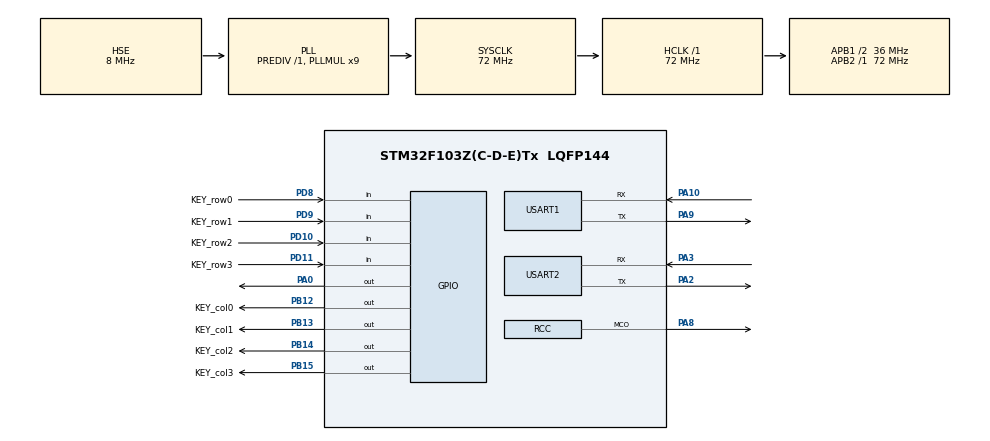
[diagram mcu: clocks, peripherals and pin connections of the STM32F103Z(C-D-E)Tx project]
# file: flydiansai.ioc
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Dma.Request0=USART1_RX
Dma.Request1=USART1_TX
Dma.Request2=USART2_RX
Dma.Request3=USART2_TX
Dma.USART1_RX.0.Direction=DMA_PERIPH_TO_MEMORY
Dma.USART1_RX.0.Instance=DMA1_Channel5
Dma.USART1_RX.0.MemDataAlignment=DMA_MDATAALIGN_BYTE
Dma.USART1_RX.0.MemInc=DMA_MINC_ENABLE
Dma.USART1_RX.0.Mode=DMA_NORMAL
Dma.USART1_RX.0.PeriphDataAlignment=DMA_PDATAALIGN_BYTE
Dma.USART1_RX.0.PeriphInc=DMA_PINC_DISABLE
Dma.USART1_RX.0.Priority=DMA_PRIORITY_LOW
Dma.USART1_TX.1.Direction=DMA_MEMORY_TO_PERIPH
Dma.USART1_TX.1.Instance=DMA1_Channel4
Dma.USART1_TX.1.MemDataAlignment=DMA_MDATAALIGN_BYTE
Dma.USART1_TX.1.MemInc=DMA_MINC_ENABLE
Dma.USART1_TX.1.Mode=DMA_NORMAL
Dma.USART1_TX.1.PeriphDataAlignment=DMA_PDATAALIGN_BYTE
Dma.USART1_TX.1.PeriphInc=DMA_PINC_DISABLE
Dma.USART1_TX.1.Priority=DMA_PRIORITY_LOW
Dma.USART2_RX.2.Direction=DMA_PERIPH_TO_MEMORY
Dma.USART2_RX.2.Instance=DMA1_Channel6
Dma.USART2_RX.2.MemDataAlignment=DMA_MDATAALIGN_BYTE
Dma.USART2_RX.2.MemInc=DMA_MINC_ENABLE
Dma.USART2_RX.2.Mode=DMA_NORMAL
Dma.USART2_RX.2.PeriphDataAlignment=DMA_PDATAALIGN_BYTE
Dma.USART2_RX.2.PeriphInc=DMA_PINC_DISABLE
Dma.USART2_RX.2.Priority=DMA_PRIORITY_LOW
Dma.USART2_TX.3.Direction=DMA_MEMORY_TO_PERIPH
Dma.USART2_TX.3.Instance=DMA1_Channel7
Dma.USART2_TX.3.MemDataAlignment=DMA_MDATAALIGN_BYTE
Dma.USART2_TX.3.MemInc=DMA_MINC_ENABLE
Dma.USART2_TX.3.Mode=DMA_NORMAL
Dma.USART2_TX.3.PeriphDataAlignment=DMA_PDATAALIGN_BYTE
Dma.USART2_TX.3.PeriphInc=DMA_PINC_DISABLE
Dma.USART2_TX.3.Priority=DMA_PRIORITY_LOW
FREERTOS.Tasks01=defaultTask,0,128,StartDefaultTask,Default,NULL,Dynamic,NULL,NULL
FREERTOS.configTOTAL_HEAP_SIZE=16384
Mcu.Family=STM32F1
Mcu.Name=STM32F103Z(C-D-E)Tx
Mcu.Package=LQFP144
NVIC.DMA1_Channel4_IRQn=true\:5\:0\:false\:false\:true\:true\:false\:true\:true
NVIC.DMA1_Channel5_IRQn=true\:5\:0\:false\:false\:true\:true\:false\:true\:true
NVIC.DMA1_Channel6_IRQn=true\:5\:0\:false\:false\:true\:true\:false\:true\:true
NVIC.DMA1_Channel7_IRQn=true\:5\:0\:false\:false\:true\:true\:false\:true\:true
NVIC.PriorityGroup=NVIC_PRIORITYGROUP_4
NVIC.TIM6_IRQn=true\:15\:0\:false\:false\:true\:false\:false\:true\:true
NVIC.TimeBase=TIM6_IRQn
NVIC.TimeBaseIP=TIM6
NVIC.USART1_IRQn=true\:5\:0\:false\:false\:true\:true\:true\:true\:true
NVIC.USART2_IRQn=true\:5\:0\:false\:false\:true\:true\:true\:true\:true
OSC_IN.Mode=HSE-External-Oscillator
OSC_IN.Signal=RCC_OSC_IN
OSC_OUT.Mode=HSE-External-Oscillator
OSC_OUT.Signal=RCC_OSC_OUT
PA0-WKUP.Signal=GPIO_Output
PA10.Mode=Asynchronous
PA10.Signal=USART1_RX
PA13.Mode=Serial_Wire
PA13.Signal=SYS_JTMS-SWDIO
PA14.Mode=Serial_Wire
PA14.Signal=SYS_JTCK-SWCLK
PA2.Mode=Asynchronous
PA2.Signal=USART2_TX
PA3.Mode=Asynchronous
PA3.Signal=USART2_RX
PA8.Mode=Clock-out
PA8.Signal=RCC_MCO
PA9.Mode=Asynchronous
PA9.Signal=USART1_TX
PB12.GPIO_Label=KEY_col0
PB12.Signal=GPIO_Output
PB13.GPIO_Label=KEY_col1
PB13.Signal=GPIO_Output
PB14.GPIO_Label=KEY_col2
PB14.Signal=GPIO_Output
PB15.GPIO_Label=KEY_col3
PB15.Signal=GPIO_Output
PC14-OSC32_IN.Mode=LSE-External-Oscillator
PC14-OSC32_IN.Signal=RCC_OSC32_IN
PC15-OSC32_OUT.Mode=LSE-External-Oscillator
PC15-OSC32_OUT.Signal=RCC_OSC32_OUT
PD10.GPIO_Label=KEY_row2
PD10.GPIO_PuPd=GPIO_PULLUP
PD10.Signal=GPIO_Input
PD11.GPIO_Label=KEY_row3
PD11.GPIO_PuPd=GPIO_PULLUP
PD11.Signal=GPIO_Input
PD8.GPIO_Label=KEY_row0
PD8.GPIO_PuPd=GPIO_PULLUP
PD8.Signal=GPIO_Input
PD9.GPIO_Label=KEY_row1
PD9.GPIO_PuPd=GPIO_PULLUP
PD9.Signal=GPIO_Input
ProjectManager.HeapSize=0x400
ProjectManager.StackSize=0x800
ProjectManager.TargetToolchain=MDK-ARM V5.32
RCC.AHBFreq_Value=72000000
RCC.APB1CLKDivider=RCC_HCLK_DIV2
RCC.APB1Freq_Value=36000000
RCC.APB1TimFreq_Value=72000000
RCC.APB2Freq_Value=72000000
RCC.APB2TimFreq_Value=72000000
RCC.HCLKFreq_Value=72000000
RCC.PLLMUL=RCC_PLL_MUL9
RCC.PLLSourceVirtual=RCC_PLLSOURCE_HSE
RCC.RCC_MCOSource=RCC_MCO1SOURCE_PLLCLK
RCC.SYSCLKFreq_VALUE=72000000
RCC.SYSCLKSource=RCC_SYSCLKSOURCE_PLLCLK
RCC.USBFreq_Value=72000000
USART1.VirtualMode=VM_ASYNC
USART2.VirtualMode=VM_ASYNC
VP_FREERTOS_VS_CMSIS_V1.Mode=CMSIS_V1
VP_SYS_VS_tim6.Mode=TIM6
board=custom

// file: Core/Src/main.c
/* USER CODE BEGIN Header */
/**
  ******************************************************************************
  * @file           : main.c
  * @brief          : Main program body
  ******************************************************************************
  * @attention
  *
  * <h2><center>&copy; Copyright (c) 2025 STMicroelectronics.
  * All rights reserved.</center></h2>
  *
  * This software component is licensed by ST under Ultimate Liberty license
  * SLA0044, the "License"; You may not use this file except in compliance with
  * the License. You may obtain a copy of the License at:
  *                             www.st.com/SLA0044
  *
  ******************************************************************************
  */
/* USER CODE END Header */
#include "main.h"
#include "cmsis_os.h"
#include "dma.h"
#include "usart.h"
#include "gpio.h"

/* USER CODE BEGIN Includes */
#include "myusart.h"
#include "stdio.h"
/* USER CODE END Includes */

void SystemClock_Config(void);
void MX_FREERTOS_Init(void);

int main(void)
{

  /* MCU Configuration--------------------------------------------------------*/

  /* Reset of all peripherals, Initializes the Flash interface and the Systick. */
  HAL_Init();

  /* Configure the system clock */
  SystemClock_Config();

  /* Initialize all configured peripherals */
  MX_GPIO_Init();
  MX_DMA_Init();
  MX_USART1_UART_Init();
  MX_USART2_UART_Init();
  /* USER CODE BEGIN 2 */
	 usart_init();

    GPIO_InitTypeDef GPIO_Initure;

    __HAL_RCC_GPIOB_CLK_ENABLE();           	//开启GPIOB时钟
	__HAL_RCC_GPIOE_CLK_ENABLE();           	//开启GPIOE时钟

    GPIO_Initure.Pin=GPIO_PIN_5; 				//PB5
    GPIO_Initure.Mode=GPIO_MODE_OUTPUT_PP;  	//推挽输出
    GPIO_Initure.Pull=GPIO_PULLUP;          	//上拉
    GPIO_Initure.Speed=GPIO_SPEED_FREQ_HIGH;    //高速
    HAL_GPIO_Init(GPIOB,&GPIO_Initure);

	GPIO_Initure.Pin=GPIO_PIN_5; 				//PE5
	HAL_GPIO_Init(GPIOE,&GPIO_Initure);

    HAL_GPIO_WritePin(GPIOB,GPIO_PIN_5,GPIO_PIN_SET);	//PB5置1，默认初始化后灯灭
    HAL_GPIO_WritePin(GPIOE,GPIO_PIN_5,GPIO_PIN_SET);	//PE5置1，默认初始化后灯灭

  /* USER CODE END 2 */

  /* Call init function for freertos objects (in cmsis_os2.c) */
  MX_FREERTOS_Init();

  /* Start scheduler */
  osKernelStart();

  /* We should never get here as control is now taken by the scheduler */

  /* Infinite loop */
  while (1)
  {

  }
}

void SystemClock_Config(void)
{
  RCC_OscInitTypeDef RCC_OscInitStruct = {0};
  RCC_ClkInitTypeDef RCC_ClkInitStruct = {0};

  /** Initializes the RCC Oscillators according to the specified parameters
  * in the RCC_OscInitTypeDef structure.
  */
  RCC_OscInitStruct.OscillatorType = RCC_OSCILLATORTYPE_HSE;
  RCC_OscInitStruct.HSEState = RCC_HSE_ON;
  RCC_OscInitStruct.HSEPredivValue = RCC_HSE_PREDIV_DIV1;
  RCC_OscInitStruct.HSIState = RCC_HSI_ON;
  RCC_OscInitStruct.PLL.PLLState = RCC_PLL_ON;
  RCC_OscInitStruct.PLL.PLLSource = RCC_PLLSOURCE_HSE;
  RCC_OscInitStruct.PLL.PLLMUL = RCC_PLL_MUL9;
  if (HAL_RCC_OscConfig(&RCC_OscInitStruct) != HAL_OK)
  {
    Error_Handler();
  }

  /** Initializes the CPU, AHB and APB buses clocks
  */
  RCC_ClkInitStruct.ClockType = RCC_CLOCKTYPE_HCLK|RCC_CLOCKTYPE_SYSCLK
                              |RCC_CLOCKTYPE_PCLK1|RCC_CLOCKTYPE_PCLK2;
  RCC_ClkInitStruct.SYSCLKSource = RCC_SYSCLKSOURCE_PLLCLK;
  RCC_ClkInitStruct.AHBCLKDivider = RCC_SYSCLK_DIV1;
  RCC_ClkInitStruct.APB1CLKDivider = RCC_HCLK_DIV2;
  RCC_ClkInitStruct.APB2CLKDivider = RCC_HCLK_DIV1;

  if (HAL_RCC_ClockConfig(&RCC_ClkInitStruct, FLASH_LATENCY_2) != HAL_OK)
  {
    Error_Handler();
  }
  HAL_RCC_MCOConfig(RCC_MCO, RCC_MCO1SOURCE_PLLCLK, RCC_MCODIV_1);
}

/* USER CODE BEGIN 4 */

int fputc(int ch, FILE *f)
{
    HAL_UART_Transmit(&huart1, (uint8_t *)&ch, 1, HAL_MAX_DELAY);
    return ch;
}

/* USER CODE END 4 */

void HAL_TIM_PeriodElapsedCallback(TIM_HandleTypeDef *htim)
{
  if (htim->Instance == TIM6)
  {
    HAL_IncTick();
  }
}

void Error_Handler(void)
{
  __disable_irq();
  while (1)
  {
  }
}

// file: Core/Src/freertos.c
/* USER CODE BEGIN Header */
/**
  ******************************************************************************
  * File Name          : freertos.c
  * Description        : Code for freertos applications
  ******************************************************************************
  * @attention
  *
  * <h2><center>&copy; Copyright (c) 2025 STMicroelectronics.
  * All rights reserved.</center></h2>
  *
  * This software component is licensed by ST under Ultimate Liberty license
  * SLA0044, the "License"; You may not use this file except in compliance with
  * the License. You may obtain a copy of the License at:
  *                             www.st.com/SLA0044
  *
  ******************************************************************************
  */
/* USER CODE END Header */

#include "FreeRTOS.h"
#include "task.h"
#include "main.h"
#include "cmsis_os.h"

/* USER CODE BEGIN Includes */
#include "anjian.h"
#include "send_task.h"
#include "lcd_task.h"

osThreadId Send_TaskHandle;

osThreadId Anjian_TaskHandle;
osThreadId lcd_TaskHandle;

/* USER CODE END Includes */

osThreadId defaultTaskHandle;

void StartDefaultTask(void const * argument);

void MX_FREERTOS_Init(void); /* (MISRA C 2004 rule 8.1) */

/* GetIdleTaskMemory prototype (linked to static allocation support) */
void vApplicationGetIdleTaskMemory( StaticTask_t **ppxIdleTaskTCBBuffer, StackType_t **ppxIdleTaskStackBuffer, uint32_t *pulIdleTaskStackSize );

/* USER CODE BEGIN GET_IDLE_TASK_MEMORY */
static StaticTask_t xIdleTaskTCBBuffer;
static StackType_t xIdleStack[configMINIMAL_STACK_SIZE];

void vApplicationGetIdleTaskMemory( StaticTask_t **ppxIdleTaskTCBBuffer, StackType_t **ppxIdleTaskStackBuffer, uint32_t *pulIdleTaskStackSize )
{
  *ppxIdleTaskTCBBuffer = &xIdleTaskTCBBuffer;
  *ppxIdleTaskStackBuffer = &xIdleStack[0];
  *pulIdleTaskStackSize = configMINIMAL_STACK_SIZE;
  /* place for user code */
}
/* USER CODE END GET_IDLE_TASK_MEMORY */

void MX_FREERTOS_Init(void) {

  /* Create the thread(s) */
  /* definition and creation of defaultTask */
//  osThreadDef(defaultTask, StartDefaultTask, osPriorityNormal, 0, 128);
//  defaultTaskHandle = osThreadCreate(osThread(defaultTask), NULL);

  /* USER CODE BEGIN RTOS_THREADS */
      osThreadDef(Anjian, Anjian_Task, osPriorityAboveNormal, 0, 128);
  Anjian_TaskHandle = osThreadCreate(osThread(Anjian), NULL);
	      osThreadDef(Send, Send_Task, osPriorityAboveNormal, 0, 3000);
  Send_TaskHandle = osThreadCreate(osThread(Send), NULL);
  osThreadDef(lcd, lcd_Task, osPriorityNormal, 0, 128);
  lcd_TaskHandle = osThreadCreate(osThread(lcd), NULL);

  /* USER CODE END RTOS_THREADS */

}

void StartDefaultTask(void const * argument)
{
  for(;;)
  {
    osDelay(1);
  }
}
